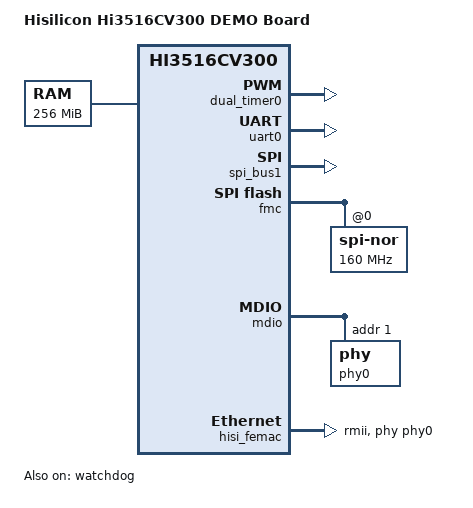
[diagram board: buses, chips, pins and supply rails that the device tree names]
/*
 * Copyright (c) 2016-2017 HiSilicon Technologies Co., Ltd.
 *
 * This program is free software; you can redistribute  it and/or modify it
 * under  the terms of  the GNU General Public License as published by the
 * Free Software Foundation;  either version 2 of the  License, or (at your
 * option) any later version.
 *
 * This program is distributed in the hope that it will be useful,
 * but WITHOUT ANY WARRANTY; without even the implied warranty of
 * MERCHANTABILITY or FITNESS FOR A PARTICULAR PURPOSE. See the
 * GNU General Public License for more details.
 *
 * You should have received a copy of the GNU General Public License
 * along with this program.  If not, see <http://www.gnu.org/licenses/>.
 *
 */


/dts-v1/;
#include "hi3516cv300.dtsi"

/ {
	model = "Hisilicon Hi3516CV300 DEMO Board";
	compatible = "hisilicon,hi3516cv300-demb", "hisilicon,hi3516cv300";

	aliases {
		serial0 = &uart0;
	};

	chosen {
		stdout-path = "serial0:115200n8";
	};

	memory {
		device_type = "memory";
		reg = <0x80000000 0x10000000>;
	};
};

&dual_timer0 {
	status = "okay";
};

&watchdog {
	status = "okay";
};

&uart0 {
	status = "okay";
};

&spi_bus1 {
	status = "okay";
	num-cs = <2>;
	cs-gpios = <&gpio_chip5 3 0>, <&gpio_chip5 4 0>;
	pinctrl-names = "default";
	pinctrl-0 = <&spi1_pmux>;
};

&fmc {
	spi-nor@0 {
		compatible = "jedec,spi-nor";
		reg = <0>;
		spi-max-frequency = <160000000>;
		m25p,fast-read;
	};
};

&mdio {
	phy0: phy@1 {
		reg = <1>;
	};
};

&hisi_femac {
	phy-mode = "rmii";
	phy-handle = <&phy0>;
	hisilicon,phy-reset-delays-us = <10000 10000 150000>;
};

&dmac {
	status = "okay";
};

&pmux {
	spi1_pmux: spi1_pmux {
		pinctrl-single,pins = <
			0xc4 0x1
			0xc8 0x1
			0xcc 0x1
			0xd0 0x1
			0xd4 0x1>;
	};
};
